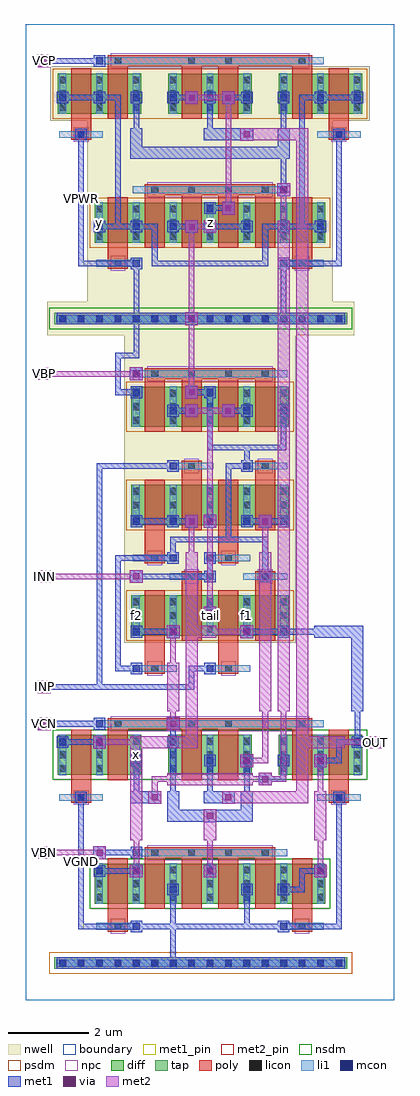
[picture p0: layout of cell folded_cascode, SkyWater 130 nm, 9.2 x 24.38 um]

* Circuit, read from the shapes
.subckt folded_cascode INN INP OUT VBN VBP VCN VCP VGND VPWR f1 f2 tail x y z
XM1 f1 VGND f1 VGND sky130_fd_pr__nfet_01v8 w=1 l=0.5 m=4
XM2 x VCN f1 VGND sky130_fd_pr__nfet_01v8 w=1 l=0.5 m=2
XM3 VGND VBN f1 VGND sky130_fd_pr__nfet_01v8 w=1 l=0.5 m=2
XM4 f2 VBN VGND VGND sky130_fd_pr__nfet_01v8 w=1 l=0.5 m=2
XM5 OUT VCN f2 VGND sky130_fd_pr__nfet_01v8 w=1 l=0.5 m=2
XM6 y VPWR y VPWR sky130_fd_pr__pfet_01v8 w=1 l=0.5 m=4
XM7 x VCP y VPWR sky130_fd_pr__pfet_01v8 w=1 l=0.5 m=2
XM8 f2 VPWR f2 VPWR sky130_fd_pr__pfet_01v8 w=1 l=0.5 m=2
XM9 f1 VPWR f1 VPWR sky130_fd_pr__pfet_01v8 w=1 l=0.5 m=2
XM10 tail VBP VPWR VPWR sky130_fd_pr__pfet_01v8 w=1 l=0.5 m=4
XM11 VPWR x y VPWR sky130_fd_pr__pfet_01v8 w=1 l=0.5 m=2
XM12 tail INN f2 VPWR sky130_fd_pr__pfet_01v8 w=1 l=0.5 m=2
XM13 tail INP f1 VPWR sky130_fd_pr__pfet_01v8 w=1 l=0.5 m=2
XM14 z x VPWR VPWR sky130_fd_pr__pfet_01v8 w=1 l=0.5 m=2
XM15 OUT VCP z VPWR sky130_fd_pr__pfet_01v8 w=1 l=0.5 m=2
.ends

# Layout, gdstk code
import gdstk
lib = gdstk.Library(unit=1e-6, precision=1e-09)
def R(c, l, rs):  # rectangles x0, y0, x1, y1
    for r in rs: c.add(gdstk.rectangle(r[:2], r[2:], *l))
def A(c, l, x, y, w, h, nx, ny, dx, dy):  # array of equal rectangles
    R(c, l, [(x+i*dx, y+j*dy, x+i*dx+w, y+j*dy+h) for i in range(nx) for j in range(ny)])
nwell = (64, 20)
diff = (65, 20)
tap = (65, 44)
poly = (66, 20)
licon = (66, 44)
li1 = (67, 20)
mcon = (67, 44)
met1_pin = (68, 16)
met1 = (68, 20)
via = (68, 44)
met2_pin = (69, 16)
met2 = (69, 20)
nsdm = (93, 44)
psdm = (94, 20)
npc = (95, 20)
boundary = (235, 4)

folded_cascode = lib.new_cell('folded_cascode')
R(folded_cascode, nwell, [(2.455,8.925,6.745,16.6), (0.535,16.6,8.205,17.44), (1.535,17.44,7.665,21.96), (0.615,21.96,8.585,23.32)])
A(folded_cascode, diff, 0.795, 5.625, 2.09, 1, 3, 2, 2.76, 16.515)
R(folded_cascode, diff, [(1.715,2.405,7.485,3.405), (2.635,9.105,6.565,10.105), (2.635,11.865,6.565,12.865), (2.635,14.32,6.565,15.32), (1.715,18.92,7.485,19.92)])
R(folded_cascode, tap, [(0.715,0.775,8.025,1.065), (0.715,16.875,8.025,17.165)])
A(folded_cascode, poly, 2.97, 2.275, 0.5, 1.405, 4, 1, 0.92, 0)
A(folded_cascode, poly, 2.97, 14.19, 0.5, 1.45, 4, 2, 0.92, 4.6)
R(folded_cascode, poly, [(2.05,1.705,2.55,1.975), (6.65,1.705,7.15,1.975), (2.05,1.84,2.55,3.535), (6.65,1.84,7.15,3.535), (2.97,3.545,6.23,3.815), (1.13,4.925,1.63,5.195), (7.57,4.925,8.07,5.195), (1.13,5.06,1.63,6.755), (7.57,5.06,8.07,6.755), (2.05,5.495,2.55,6.9), (3.89,5.495,4.39,6.9), (4.81,5.495,5.31,6.9), (6.65,5.495,7.15,6.9), (2.05,6.765,7.15,7.035), (2.97,8.145,3.47,8.415), (4.81,8.145,5.31,8.415), (2.97,8.28,3.47,10.235), (4.81,8.28,5.31,10.235), (3.89,8.975,4.39,10.58), (5.73,8.975,6.23,10.58), (3.89,10.445,4.39,10.715), (5.73,10.445,6.23,10.715), (2.97,10.905,3.47,11.175), (4.81,10.905,5.31,11.175), (2.97,11.04,3.47,12.995), (4.81,11.04,5.31,12.995), (3.89,11.735,4.39,13.34), (5.73,11.735,6.23,13.34), (3.89,13.205,4.39,13.475), (5.73,13.205,6.23,13.475), (2.97,15.505,6.23,15.775), (2.05,18.265,2.55,18.535), (6.65,18.265,7.15,18.535), (2.05,18.4,2.55,20.05), (6.65,18.4,7.15,20.05), (2.97,20.105,6.23,20.375), (1.13,21.485,1.63,21.755), (7.57,21.485,8.07,21.755), (1.13,21.62,1.63,23.27), (7.57,21.62,8.07,23.27), (2.05,22.01,2.55,23.46), (3.89,22.01,4.39,23.46), (4.81,22.01,5.31,23.46), (6.65,22.01,7.15,23.46), (2.05,23.325,7.15,23.595)])
A(folded_cascode, licon, 0.835, 0.835, 0.17, 0.17, 16, 2, 0.46, 16.1)
A(folded_cascode, licon, 1.755, 2.48, 0.17, 0.17, 7, 3, 0.92, 0.34)
A(folded_cascode, licon, 3.135, 3.595, 0.17, 0.17, 4, 2, 0.92, 11.96)
A(folded_cascode, licon, 0.835, 5.7, 0.17, 0.17, 9, 3, 0.92, 0.34)
A(folded_cascode, licon, 2.675, 9.18, 0.17, 0.17, 5, 3, 0.92, 0.34)
A(folded_cascode, licon, 2.675, 11.94, 0.17, 0.17, 5, 3, 0.92, 0.34)
A(folded_cascode, licon, 2.675, 14.395, 0.17, 0.17, 5, 3, 0.92, 0.34)
A(folded_cascode, licon, 1.755, 18.995, 0.17, 0.17, 7, 3, 0.92, 0.34)
A(folded_cascode, licon, 3.135, 20.155, 0.17, 0.17, 4, 1, 0.92, 0)
A(folded_cascode, licon, 0.835, 22.215, 0.17, 0.17, 9, 3, 0.92, 0.34)
R(folded_cascode, licon, [(2.215,1.755,2.385,1.925), (6.815,1.755,6.985,1.925), (1.295,4.975,1.465,5.145), (7.735,4.975,7.905,5.145), (2.215,6.815,2.385,6.985), (4.055,6.815,4.225,6.985), (4.975,6.815,5.145,6.985), (6.815,6.815,6.985,6.985), (3.135,8.195,3.305,8.365), (4.975,8.195,5.145,8.365), (4.055,10.495,4.225,10.665), (5.895,10.495,6.065,10.665), (3.135,10.955,3.305,11.125), (4.975,10.955,5.145,11.125), (4.055,13.255,4.225,13.425), (5.895,13.255,6.065,13.425), (2.215,18.315,2.385,18.485), (6.815,18.315,6.985,18.485), (1.295,21.535,1.465,21.705), (7.735,21.535,7.905,21.705), (2.215,23.375,2.385,23.545), (4.055,23.375,4.225,23.545), (4.975,23.375,5.145,23.545), (6.815,23.375,6.985,23.545)])
A(folded_cascode, li1, 1.755, 2.4, 0.17, 1.01, 7, 2, 0.92, 16.515)
A(folded_cascode, li1, 0.835, 5.62, 0.17, 1.01, 9, 2, 0.92, 16.515)
A(folded_cascode, li1, 2.675, 9.1, 0.17, 1.01, 5, 2, 0.92, 2.76)
A(folded_cascode, li1, 2.675, 14.315, 0.17, 1.01, 5, 1, 0.92, 0)
R(folded_cascode, li1, [(0.755,0.835,7.985,1.005), (1.755,1.755,2.845,1.925), (6.355,1.755,7.445,1.925), (2.675,3.595,6.525,3.765), (0.835,4.975,1.925,5.145), (7.275,4.975,8.365,5.145), (1.755,6.815,7.445,6.985), (2.675,8.195,3.765,8.365), (4.515,8.195,5.605,8.365), (3.595,10.495,4.685,10.665), (5.435,10.495,6.525,10.665), (2.675,10.955,3.765,11.125), (4.515,10.955,5.605,11.125), (3.595,13.255,4.685,13.425), (5.435,13.255,6.525,13.425), (2.675,15.555,6.525,15.725), (0.755,16.935,7.985,17.105), (1.755,18.315,2.845,18.485), (6.355,18.315,7.445,18.485), (2.675,20.155,6.525,20.325), (0.835,21.535,1.925,21.705), (7.275,21.535,8.365,21.705), (1.755,23.375,7.445,23.545)])
A(folded_cascode, mcon, 0.835, 0.835, 0.17, 0.17, 16, 2, 0.46, 16.1)
A(folded_cascode, mcon, 2.675, 3.595, 0.17, 0.17, 1, 3, 0, 2.3)
A(folded_cascode, mcon, 4.515, 5.895, 0.17, 0.17, 4, 1, 0.92, 0)
A(folded_cascode, mcon, 2.675, 11.875, 0.17, 0.17, 5, 1, 0.92, 0)
A(folded_cascode, mcon, 1.755, 19.235, 0.17, 0.17, 3, 1, 0.92, 0)
A(folded_cascode, mcon, 5.435, 19.235, 0.17, 0.17, 3, 1, 0.92, 0)
A(folded_cascode, mcon, 0.835, 22.455, 0.17, 0.17, 9, 1, 0.92, 0)
R(folded_cascode, mcon, [(2.675,1.755,2.845,1.925), (6.355,1.755,6.525,1.925), (3.595,2.675,3.765,2.845), (5.435,2.675,5.605,2.845), (6.355,2.675,6.525,2.845), (1.755,3.135,1.925,3.305), (2.675,3.135,2.845,3.305), (4.515,3.135,4.685,3.305), (7.275,3.135,7.445,3.305), (1.295,4.975,1.465,5.145), (7.735,4.975,7.905,5.145), (0.835,6.355,1.005,6.525), (1.755,6.355,1.925,6.525), (3.595,6.355,3.765,6.525), (8.195,6.355,8.365,6.525), (1.755,6.815,1.925,6.985), (4.515,8.195,4.685,8.365), (2.675,9.115,2.845,9.285), (3.595,9.115,3.765,9.285), (5.435,9.115,5.605,9.285), (6.355,9.115,6.525,9.285), (4.515,9.575,4.685,9.745), (4.515,10.495,4.685,10.665), (5.895,10.495,6.065,10.665), (3.595,10.955,3.765,11.125), (4.515,10.955,4.685,11.125), (3.595,13.255,3.765,13.425), (5.435,13.255,5.605,13.425), (3.595,14.635,3.765,14.805), (5.435,14.635,5.605,14.805), (6.355,14.635,6.525,14.805), (2.675,15.095,2.845,15.265), (4.515,15.095,4.685,15.265), (2.675,15.555,2.845,15.725), (2.675,18.315,2.845,18.485), (6.355,18.315,6.525,18.485), (4.515,19.695,4.685,19.865), (6.355,20.155,6.525,20.325), (1.295,21.535,1.465,21.705), (7.735,21.535,7.905,21.705), (1.755,23.375,1.925,23.545)])
R(folded_cascode, met1_pin, [(1.31,1.77,1.45,5.13), (1.31,18.33,1.45,21.69)])
A(folded_cascode, met1, 2.615, 3.535, 0.29, 0.29, 1, 3, 0, 2.3)
A(folded_cascode, met1, 4.455, 5.835, 0.29, 0.29, 4, 1, 0.92, 0)
A(folded_cascode, met1, 2.615, 11.815, 0.29, 0.29, 5, 1, 0.92, 0)
A(folded_cascode, met1, 1.695, 19.175, 0.29, 0.29, 3, 1, 0.92, 0)
A(folded_cascode, met1, 5.375, 19.175, 0.29, 0.29, 3, 1, 0.92, 0)
A(folded_cascode, met1, 2.69, 21.55, 0.14, 1.06, 3, 1, 1.84, 0)
A(folded_cascode, met1, 0.775, 22.395, 0.29, 0.29, 9, 1, 0.92, 0)
R(folded_cascode, met1, [(0.775,0.775,7.965,1.065), (3.61,0.85,3.75,2.83), (3.61,0.85,3.75,0.99), (2.615,1.695,2.905,1.985), (6.295,1.695,6.585,1.985), (1.31,1.77,2.83,1.91), (1.31,1.77,1.45,5.13), (2.69,1.77,3.75,1.91), (3.61,1.77,6.51,1.91), (5.45,1.77,5.59,2.83), (6.37,1.77,7.89,1.91), (7.75,1.77,7.89,5.13), (3.535,2.615,3.825,2.905), (5.375,2.615,5.665,2.905), (6.295,2.615,6.585,2.905), (6.37,2.69,6.97,2.83), (6.83,2.69,6.97,3.29), (2.6,3.06,2.92,3.38), (4.44,3.06,4.76,3.38), (7.2,3.06,7.52,3.38), (1.695,3.075,1.985,3.365), (2.615,3.075,2.905,3.365), (4.455,3.075,4.745,3.365), (7.215,3.075,7.505,3.365), (1.77,3.15,2.83,3.29), (6.83,3.15,7.43,3.29), (1.68,3.52,2,3.84), (1.77,3.61,2.83,3.75), (4.44,4.44,4.76,4.76), (3.53,4.45,5.67,4.75), (3.53,4.45,3.83,5.21), (5.37,4.45,5.67,5.21), (3.06,4.9,3.38,5.22), (4.9,4.9,5.22,5.22), (2.61,4.91,3.37,5.21), (4.45,4.91,5.21,5.21), (1.235,4.915,1.525,5.205), (7.675,4.915,7.965,5.205), (2.69,4.99,2.83,6.05), (3.61,4.99,3.75,6.51), (4.53,4.99,4.67,6.05), (5.45,4.99,5.59,6.05), (5.82,5.36,6.14,5.68), (5.91,5.45,6.51,5.59), (6.37,5.45,6.51,6.05), (5.36,5.82,5.68,6.14), (7.2,5.82,7.52,6.14), (7.29,5.91,7.89,6.05), (7.75,5.91,7.89,6.51), (1.68,6.28,2,6.6), (0.775,6.295,1.065,6.585), (1.695,6.295,1.985,6.585), (3.535,6.295,3.825,6.585), (8.135,6.295,8.425,6.585), (0.85,6.37,1.91,6.51), (3.61,6.37,3.75,6.97), (7.75,6.37,8.35,6.51), (8.21,6.37,8.35,7.43), (0.3,6.74,0.62,7.06), (3.52,6.74,3.84,7.06), (1.695,6.755,1.985,7.045), (0.39,6.83,1.91,6.97), (8.13,7.21,8.43,9.35), (0.3,7.66,0.62,7.98), (0.39,7.75,4.21,7.89), (1.77,7.75,1.91,13.41), (4.07,7.75,4.21,8.35), (4.455,8.135,4.745,8.425), (2.23,8.21,2.83,8.35), (2.23,8.21,2.37,11.11), (4.07,8.21,4.67,8.35), (3.52,9.04,3.84,9.36), (5.36,9.04,5.68,9.36), (7.21,9.05,8.43,9.35), (2.615,9.055,2.905,9.345), (3.535,9.055,3.825,9.345), (5.375,9.055,5.665,9.345), (6.295,9.055,6.585,9.345), (2.69,9.13,3.75,9.27), (5.45,9.13,6.51,9.27), (6.37,9.13,7.43,9.27), (4.44,9.5,4.76,9.82), (4.455,9.515,4.745,9.805), (2.6,10.42,2.92,10.74), (4.455,10.435,4.745,10.725), (5.835,10.435,6.125,10.725), (2.69,10.51,4.67,10.65), (4.53,10.51,4.67,11.11), (5.91,10.51,6.05,11.57), (3.535,10.895,3.825,11.185), (4.455,10.895,4.745,11.185), (2.23,10.97,3.75,11.11), (3.61,10.97,3.75,11.57), (3.61,11.43,5.13,11.57), (4.99,11.43,5.13,13.41), (4.99,11.43,6.05,11.57), (3.98,11.8,4.3,12.12), (4.44,11.8,4.76,12.12), (5.82,11.8,6.14,12.12), (2.69,11.89,3.75,12.03), (3.61,11.89,4.21,12.03), (5.45,11.89,6.05,12.03), (5.91,11.89,6.51,12.03), (3.535,13.195,3.825,13.485), (5.375,13.195,5.665,13.485), (1.77,13.27,3.75,13.41), (4.99,13.27,5.59,13.41), (5.45,13.27,5.59,13.87), (4.53,13.73,5.59,13.87), (4.53,13.73,4.67,15.25), (5.45,13.73,6.51,13.87), (6.37,13.73,6.51,14.79), (3.98,14.56,4.3,14.88), (4.9,14.56,5.22,14.88), (3.535,14.575,3.825,14.865), (5.375,14.575,5.665,14.865), (6.295,14.575,6.585,14.865), (3.61,14.65,4.21,14.79), (4.99,14.65,5.59,14.79), (3.98,15.02,4.3,15.34), (2.615,15.035,2.905,15.325), (4.455,15.035,4.745,15.325), (2.23,15.11,2.83,15.25), (2.23,15.11,2.37,16.17), (4.07,15.11,4.67,15.25), (2.6,15.48,2.92,15.8), (2.615,15.495,2.905,15.785), (2.23,16.03,2.83,16.17), (2.69,16.03,2.83,17.09), (3.98,16.86,4.3,17.18), (0.775,16.875,7.965,17.165), (2.69,16.95,4.21,17.09), (2.69,16.95,2.83,18.47), (4.07,16.95,6.51,17.09), (4.07,16.95,4.21,17.09), (6.37,16.95,6.51,18.47), (2.615,18.255,2.905,18.545), (6.295,18.255,6.585,18.545), (1.31,18.33,2.83,18.47), (1.31,18.33,1.45,21.69), (3.15,18.33,6.05,18.47), (3.15,18.33,3.29,19.39), (5.91,18.33,6.05,19.39), (6.37,18.33,7.89,18.47), (7.75,18.33,7.89,21.69), (3.98,19.16,4.3,19.48), (4.44,19.16,4.76,19.48), (1.77,19.25,2.83,19.39), (2.23,19.25,2.37,22.61), (2.69,19.25,3.29,19.39), (3.61,19.25,4.21,19.39), (4.53,19.25,5.59,19.39), (5.91,19.25,6.51,19.39), (6.37,19.25,7.43,19.39), (6.83,19.25,6.97,22.61), (4.9,19.62,5.22,19.94), (4.455,19.635,4.745,19.925), (4.53,19.71,5.13,19.85), (6.28,20.08,6.6,20.4), (6.295,20.095,6.585,20.385), (6.37,20.17,6.51,21.23), (2.61,21.01,6.59,21.31), (2.61,21.01,2.91,21.77), (6.29,21.01,6.59,21.77), (5.36,21.46,5.68,21.78), (4.45,21.47,5.67,21.77), (1.235,21.475,1.525,21.765), (7.675,21.475,7.965,21.765), (3.98,22.38,4.3,22.7), (4.9,22.38,5.22,22.7), (0.85,22.47,1.91,22.61), (1.77,22.47,2.37,22.61), (3.61,22.47,4.21,22.61), (4.99,22.47,5.59,22.61), (6.83,22.47,7.43,22.61), (7.29,22.47,8.35,22.61), (0.3,23.3,0.62,23.62), (1.695,23.315,1.985,23.605), (0.39,23.39,1.91,23.53)])
R(folded_cascode, via, [(2.685,3.145,2.835,3.295), (4.525,3.145,4.675,3.295), (7.285,3.145,7.435,3.295), (1.765,3.605,1.915,3.755), (4.525,4.525,4.675,4.675), (3.145,4.985,3.295,5.135), (4.985,4.985,5.135,5.135), (5.905,5.445,6.055,5.595), (5.445,5.905,5.595,6.055), (7.285,5.905,7.435,6.055), (1.765,6.365,1.915,6.515), (0.385,6.825,0.535,6.975), (3.605,6.825,3.755,6.975), (0.385,7.745,0.535,7.895), (3.605,9.125,3.755,9.275), (5.445,9.125,5.595,9.275), (4.525,9.585,4.675,9.735), (2.685,10.505,2.835,10.655), (4.065,11.885,4.215,12.035), (4.525,11.885,4.675,12.035), (5.905,11.885,6.055,12.035), (4.065,14.645,4.215,14.795), (4.985,14.645,5.135,14.795), (4.065,15.105,4.215,15.255), (2.685,15.565,2.835,15.715), (4.065,16.945,4.215,17.095), (4.065,19.245,4.215,19.395), (4.525,19.245,4.675,19.395), (4.985,19.705,5.135,19.855), (6.365,20.165,6.515,20.315), (5.445,21.545,5.595,21.695), (4.065,22.465,4.215,22.615), (4.985,22.465,5.135,22.615), (0.385,23.385,0.535,23.535)])
R(folded_cascode, met2_pin, [(0.31,3.53,0.61,3.83), (8.59,6.29,8.89,6.59), (0.31,6.75,0.61,7.05), (0.31,7.67,0.61,7.97), (0.31,10.43,0.61,10.73), (0.31,15.49,0.61,15.79), (0.31,23.31,0.61,23.61)])
R(folded_cascode, met2, [(2.6,3.06,2.92,3.38), (4.44,3.06,4.76,3.38), (7.2,3.06,7.52,3.38), (2.69,3.15,2.83,4.21), (4.53,3.15,4.67,4.21), (7.29,3.15,7.43,4.21), (1.68,3.52,2,3.84), (0.31,3.53,0.61,3.83), (0.39,3.61,0.53,3.75), (0.39,3.61,1.91,3.75), (2.61,3.99,2.91,6.59), (4.45,3.99,4.75,4.75), (7.21,3.99,7.51,5.21), (4.44,4.44,4.76,4.76), (3.06,4.9,3.38,5.22), (4.9,4.9,5.22,5.22), (4.91,4.91,7.05,5.21), (6.75,4.91,7.05,6.59), (3.15,4.99,3.29,5.59), (7.29,4.99,7.43,6.05), (5.82,5.36,6.14,5.68), (3.53,5.37,5.67,5.67), (3.15,5.45,3.75,5.59), (5.45,5.45,6.05,5.59), (5.91,5.45,6.51,5.59), (6.37,5.45,6.51,7.43), (5.36,5.82,5.68,6.14), (7.2,5.82,7.52,6.14), (5.45,5.91,6.05,6.05), (5.91,5.91,6.05,7.43), (1.68,6.28,2,6.6), (2.61,6.29,4.29,6.59), (3.99,6.29,4.29,9.35), (6.75,6.29,7.97,6.59), (6.75,6.29,7.05,21.77), (8.59,6.29,8.89,6.59), (1.77,6.37,2.83,6.51), (7.75,6.37,8.81,6.51), (8.67,6.37,8.81,6.51), (0.3,6.74,0.62,7.06), (3.52,6.74,3.84,7.06), (0.31,6.75,0.61,7.05), (0.39,6.83,0.53,6.97), (3.61,6.83,3.75,7.43), (3.53,7.21,3.83,8.43), (5.83,7.21,6.13,11.19), (6.29,7.21,6.59,19.47), (0.3,7.66,0.62,7.98), (0.31,7.67,0.61,7.97), (0.39,7.75,0.53,7.89), (3.61,8.21,3.75,9.27), (3.52,9.04,3.84,9.36), (5.36,9.04,5.68,9.36), (3.99,9.05,4.75,9.35), (3.99,9.05,4.29,11.19), (4.53,9.13,5.59,9.27), (4.44,9.5,4.76,9.82), (4.53,9.59,4.67,12.03), (2.6,10.42,2.92,10.74), (0.31,10.43,0.61,10.73), (0.39,10.51,0.53,10.65), (0.39,10.51,2.83,10.65), (4.07,10.97,4.21,12.03), (5.91,10.97,6.05,12.03), (3.98,11.8,4.3,12.12), (4.44,11.8,4.76,12.12), (5.82,11.8,6.14,12.12), (4.53,11.89,4.67,14.79), (3.98,14.56,4.3,14.88), (4.9,14.56,5.22,14.88), (4.07,14.65,4.67,14.79), (4.53,14.65,5.13,14.79), (3.98,15.02,4.3,15.34), (4.07,15.11,4.21,17.09), (2.6,15.48,2.92,15.8), (0.31,15.49,0.61,15.79), (0.39,15.57,0.53,15.71), (0.39,15.57,2.83,15.71), (3.98,16.86,4.3,17.18), (4.07,16.95,4.21,19.39), (3.98,19.16,4.3,19.48), (4.44,19.16,4.76,19.48), (4.07,19.25,4.67,19.39), (6.37,19.25,6.51,20.31), (4.9,19.62,5.22,19.94), (4.99,19.71,5.13,22.61), (6.28,20.08,6.6,20.4), (5.36,21.46,5.68,21.78), (5.37,21.47,7.05,21.77), (3.98,22.38,4.3,22.7), (4.9,22.38,5.22,22.7), (4.07,22.47,5.13,22.61), (0.3,23.3,0.62,23.62), (0.31,23.31,0.61,23.61), (0.39,23.39,0.53,23.53)])
R(folded_cascode, nsdm, [(1.59,2.28,7.61,3.53), (0.67,5.5,8.53,6.75), (0.59,16.75,8.15,17.29)])
R(folded_cascode, psdm, [(0.59,0.65,8.15,1.19), (2.51,8.98,6.69,10.23), (2.51,11.74,6.69,12.99), (2.51,14.195,6.69,15.445), (1.59,18.795,7.61,20.045), (0.67,22.015,8.53,23.265)])
R(folded_cascode, npc, [(2.115,1.655,2.485,2.025), (6.715,1.655,7.085,2.025), (3.035,3.495,6.165,3.865), (1.195,4.875,1.565,5.245), (7.635,4.875,8.005,5.245), (2.115,6.715,7.085,7.085), (3.035,8.095,3.405,8.465), (4.875,8.095,5.245,8.465), (3.955,10.395,4.325,10.765), (5.795,10.395,6.165,10.765), (3.035,10.855,3.405,11.225), (4.875,10.855,5.245,11.225), (3.955,13.155,4.325,13.525), (5.795,13.155,6.165,13.525), (3.035,15.455,6.165,15.825), (2.115,18.215,2.485,18.585), (6.715,18.215,7.085,18.585), (3.035,20.055,6.165,20.425), (1.195,21.435,1.565,21.805), (7.635,21.435,8.005,21.805), (2.115,23.275,7.085,23.645)])
R(folded_cascode, boundary, [(0,0,9.2,24.38)])
folded_cascode.add(gdstk.Label('f2', (2.76,9.605), layer=67, texttype=5))
folded_cascode.add(gdstk.Label('tail', (4.6,9.605), layer=67, texttype=5))
folded_cascode.add(gdstk.Label('f1', (5.52,9.605), layer=67, texttype=5))
folded_cascode.add(gdstk.Label('x', (2.76,6.125), layer=67, texttype=5))
folded_cascode.add(gdstk.Label('y', (1.84,19.42), layer=67, texttype=5))
folded_cascode.add(gdstk.Label('z', (4.6,19.42), layer=67, texttype=5))
folded_cascode.add(gdstk.Label('VPWR', (1.38,20.01), layer=68, texttype=5))
folded_cascode.add(gdstk.Label('VGND', (1.38,3.45), layer=68, texttype=5))
folded_cascode.add(gdstk.Label('INP', (0.46,7.82), layer=69, texttype=5))
folded_cascode.add(gdstk.Label('INN', (0.46,10.58), layer=69, texttype=5))
folded_cascode.add(gdstk.Label('VBP', (0.46,15.64), layer=69, texttype=5))
folded_cascode.add(gdstk.Label('VBN', (0.46,3.68), layer=69, texttype=5))
folded_cascode.add(gdstk.Label('VCN', (0.46,6.9), layer=69, texttype=5))
folded_cascode.add(gdstk.Label('VCP', (0.46,23.46), layer=69, texttype=5))
folded_cascode.add(gdstk.Label('OUT', (8.74,6.44), layer=69, texttype=5))
folded_cascode.add(gdstk.Label('VPWR', (1.38,20.01), layer=68, texttype=16))
folded_cascode.add(gdstk.Label('VGND', (1.38,3.45), layer=68, texttype=16))
folded_cascode.add(gdstk.Label('INP', (0.46,7.82), layer=69, texttype=16))
folded_cascode.add(gdstk.Label('INN', (0.46,10.58), layer=69, texttype=16))
folded_cascode.add(gdstk.Label('VBP', (0.46,15.64), layer=69, texttype=16))
folded_cascode.add(gdstk.Label('VBN', (0.46,3.68), layer=69, texttype=16))
folded_cascode.add(gdstk.Label('VCN', (0.46,6.9), layer=69, texttype=16))
folded_cascode.add(gdstk.Label('VCP', (0.46,23.46), layer=69, texttype=16))
folded_cascode.add(gdstk.Label('OUT', (8.74,6.44), layer=69, texttype=16))

lib.write_gds('folded_cascode.gds')
